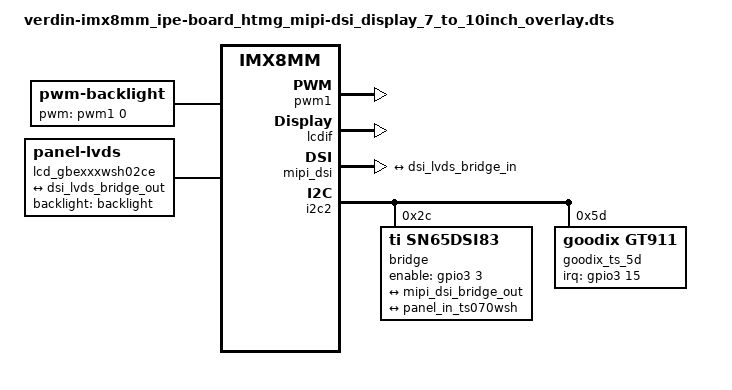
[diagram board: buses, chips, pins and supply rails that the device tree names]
// SPDX-License-Identifier: GPL-2.0-or-later OR MIT
/*
 * Verdin iMX8MM overlay - Displays from HTMG
 * Display Models GBExxxWSH02CE: 
 * 	- TDO GBE070WSH02CE 7" 1024x600 MIPI-DSI
 *	- TDO GBE101WSH02CE 10.1" 1024x600 MIPI-DSI
 *
 * Touchscreen capacitive: Goodix GT911
 * 
 * Carrier Board: Ipê Carrier Board
 * Kernel 6.6 (TorizonOS 7.4)
 * 
 * Witte Technology LTDA - https://wittetech.com/
 */

/dts-v1/;
/plugin/;

/ {
	compatible = "toradex,verdin-imx8mm";
};

#include <dt-bindings/interrupt-controller/arm-gic.h>
#include <dt-bindings/gpio/gpio.h>
#include <dt-bindings/pwm/pwm.h>
#include <dt-bindings/../../arch/arm64/boot/dts/freescale/imx8mm-pinfunc.h>

&{/} {
	backlight: backlight {
		compatible = "pwm-backlight";
		brightness-levels = <0 4 8 14 22 32 45 60 78 100 125 153 185 220 255>;
		default-brightness-level = <15>;
		pwms = <&pwm1 0 6666667 0>;
		status = "okay";
	};

	lcd_gbexxxwsh02ce: lcd-gbexxxwsh02ce {
		compatible = "panel-lvds";
		backlight = <&backlight>;
		data-mapping = "vesa-24";
		height-mm = <85>;
		width-mm = <154>;
		status = "okay";

		panel-timing {
			clock-frequency = <47250000>;
			hactive = <1024>;
			vactive = <600>;
			hback-porch = <64>;
			hfront-porch = <72>;
			hsync-len = <32>;
			vback-porch = <15>;
			vfront-porch = <15>;
			vsync-len = <8>;
			hsync-active = <0>;
			vsync-active = <0>;
			de-active = <1>;
			pixelclk-active = <1>;
		};

		port {
			panel_in_ts070wsh: endpoint {
				remote-endpoint = <&dsi_lvds_bridge_out>;
			};
		};
	};
};

&pwm1 {
	status = "okay";
};

&lcdif {
	status = "okay";
};

&mipi_dsi {
	#address-cells = <1>;
	#size-cells = <0>;
	status = "okay";

	port@1 {
		mipi_dsi_bridge_out: endpoint {
			attach-bridge;
			remote-endpoint = <&dsi_lvds_bridge_in>;
		};
	};
};

&i2c2 {
	#address-cells = <1>;
	#size-cells = <0>;
	status = "okay";

	/* TI SN65DSI83 DSI-to-LVDS bridge */
	bridge@2c {
		compatible = "ti,sn65dsi83";
		reg = <0x2c>;
		/* Verdin GPIO_10_DSI (SODIMM 21) */
		enable-gpios = <&gpio3 3 GPIO_ACTIVE_HIGH>;
		pinctrl-names = "default";
		pinctrl-0 = <&pinctrl_gpio_10_dsi>;
		status = "okay";

		ports {
			#address-cells = <1>;
			#size-cells = <0>;

			/* DSI input */
			port@0 {
				reg = <0>;
				dsi_lvds_bridge_in: endpoint {
					data-lanes = <1 2 3 4>;
					remote-endpoint = <&mipi_dsi_bridge_out>;
				};
			};

			/* LVDS output */
			port@2 {
				reg = <2>;
				dsi_lvds_bridge_out: endpoint {
					remote-endpoint = <&panel_in_ts070wsh>;
				};
			};
		};
	};

	// Goodix GT911 touchscreen at 0x14 address
	goodix_ts_14: gt911@14 {
		compatible = "goodix,gt911";
		reg = <0x14>;
		// Verdin GPIO_9_DSI (TOUCH_INT#, SODIMM 17)
		interrupt-parent = <&gpio3>;
		interrupts = <15 IRQ_TYPE_EDGE_FALLING>;
		pinctrl-names = "default";
		pinctrl-0 = <&pinctrl_gpio_9_dsi>;
		status = "disabled";
	};

	// Goodix GT911 touchscreen at 0x5D address
	goodix_ts_5d: gt911@5d {
		compatible = "goodix,gt911";
		reg = <0x5d>;
		// Verdin GPIO_9_DSI (TOUCH_INT#, SODIMM 17)
		interrupt-parent = <&gpio3>;
		interrupts = <15 IRQ_TYPE_EDGE_FALLING>;
		pinctrl-names = "default";
		pinctrl-0 = <&pinctrl_gpio_9_dsi>;
		status = "okay";
	};
};
